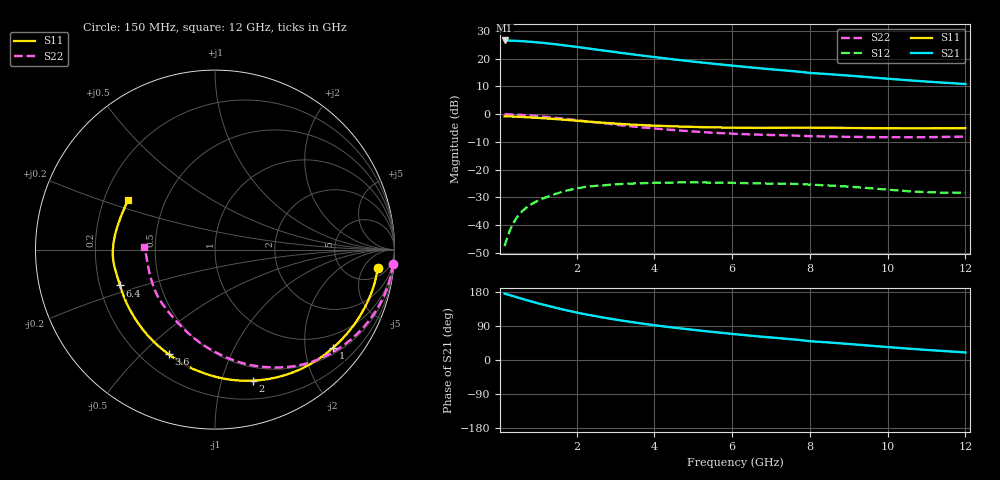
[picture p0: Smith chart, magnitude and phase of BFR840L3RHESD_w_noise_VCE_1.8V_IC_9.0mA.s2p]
! Infineon Technologies  Discrete & RF Semiconductors
! BFR840L3RHESD
! VCE =  1.8 V,  IC =  9.0 mA
! Common Emitter S-Parameters:  Jun 2012
# GHz  S  MA  R  50
!  f  S11  S21  S12  S22
! GHz  MAG  ANG  MAG  ANG  MAG  ANG  MAG  ANG
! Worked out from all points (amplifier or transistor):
!   91 points, 150 MHz to 12 GHz, reference 50 ohm
!   highest |S21| = 26.5 dB at 150 MHz (marker M1)
!   |S21| within 3 dB of that: start of sweep to 2.361 GHz
!   unconditionally stable (mu >= 1): 8.539 GHz to end of sweep
!   at 1.3 GHz: K = 0.12, MSG = 27.4 dB, |S12| = -29.5 dB
!   at 4.3 GHz: K = 0.39, MSG = 22.3 dB, |S12| = -24.7 dB
!   at 12 GHz: K = 2.14, MAG = 13.5 dB, |S12| = -28.2 dB
!   lowest NFmin = 0.66 dB at 450 MHz
!   S11 on the Smith chart (normalised r, x): 150 MHz: 9, -11; 1 GHz: 0.64, -2.62; 2 GHz: 0.37, -1.27; 3.6 GHz: 0.31, -0.61; 6.4 GHz: 0.29, -0.17; 12 GHz: 0.30, +0.24
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0.15  0.912 -6.4  21.15 175.2  0.0042 78.3  0.9935 -4.7
0.3  0.9077 -12.7  21.01 170.7  0.0085 74.5  0.9881 -9.8
0.5  0.8957 -20.7  20.7 164.5  0.0149 74.8  0.9738 -16.1
0.7  0.8804 -28.6  20.29 158.4  0.0206 72.2  0.9544 -22.2
1  0.8554 -39.9  19.51 149.9  0.0275 65.1  0.9196 -30.9
1.3  0.8292 -50.7  18.58 142.0  0.0335 57.6  0.8803 -39.2
1.5  0.8104 -57.6  17.91 137.0  0.0374 53.5  0.8523 -44.5
1.7  0.7906 -64.2  17.23 132.1  0.0411 50.2  0.8233 -49.6
2  0.7604 -73.8  16.19 125.4  0.046 45.8  0.7785 -56.8
2.2  0.7412 -79.7  15.51 121.2  0.0485 42.8  0.7489 -61.2
2.6  0.7064 -90.5  14.21 113.7  0.0518 36.3  0.6949 -69.4
3  0.676 -100.6  13.08 106.6  0.0546 32.8  0.648 -76.7
3.6  0.6375 -113.9  11.51 97.4  0.0568 26.2  0.5849 -87.3
4.2  0.6123 -125.5  10.22 89.2  0.0583 21.4  0.537 -96.6
4.7  0.5958 -134.4  9.3 83.1  0.0589 17.9  0.5043 -103.9
5.1  0.5853 -141.0  8.663 78.5  0.0589 15.6  0.4817 -109.6
6.1  0.5688 -155.4  7.342 67.9  0.0577 11.1  0.4415 -122.9
6.4  0.5658 -159.3  7.004 64.9  0.0572 9.9  0.4332 -126.8
8  0.5692 -179.5  5.508 49.6  0.0538 4.2  0.4011 -148.1
8.5  0.5665 176.1  5.227 46.2  0.0519 2.9  0.3951 -152.7
10.5  0.555 158.9  4.076 30.3  0.0411 3.9  0.3836 -171.7
12  0.5598 150.1  3.478 19.9  0.0387 16.6  0.3942 177.7
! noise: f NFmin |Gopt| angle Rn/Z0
0.45  0.66  0.35  7  0.16
0.9  0.69  0.36  12  0.16
1.9  0.72  0.37  29  0.15
3.5  0.73  0.35  49  0.14
4  0.75  0.35  59  0.14
5.5  0.78  0.36  72  0.13
7  0.85  0.35  92  0.11
8  0.91  0.33  102  0.11
10  1.01  0.32  124  0.1
12  1.16  0.28  156  0.09
